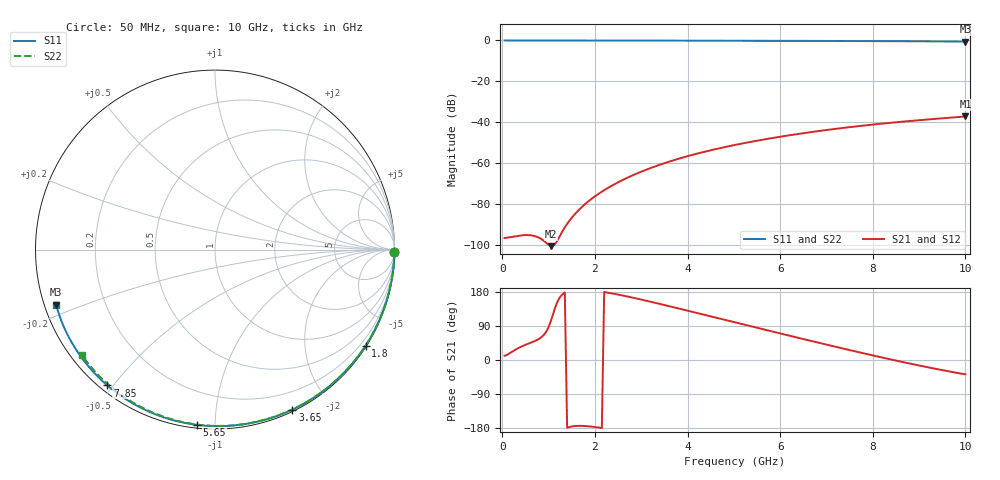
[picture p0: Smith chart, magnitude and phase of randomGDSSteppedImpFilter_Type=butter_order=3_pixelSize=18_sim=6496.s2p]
! freq	dB(S11)	phase(S11)	dB(S12)	phase(S12)
!  dB(S21)	phase(S21)	dB(S22)	phase(S22)
!S-par simulation data
#  GHz  S  DB  R 50
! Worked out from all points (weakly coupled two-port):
!   200 points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, 50 MHz to 10 GHz, reference 50 ohm
!   highest |S21| = -37.13 dB at 10 GHz (marker M1); lowest = -100.5 dB at 1.05 GHz (marker M2)
!   lowest |S11| = -0.6 dB at 10 GHz (marker M3), VSWR 30.82, Z = 1.67 - j8.42 ohm
!   |S11| at or under -10 dB: nowhere
!   |S22| runs from -0.5 to 0.0 dB; largest |S21 - S12| = 0
!   S11 on the Smith chart (normalised r, x): 50 MHz: open; 1.8 GHz: 0.03, -3.43; 3.65 GHz: 0.02, -1.60; 5.65 GHz: 0.02, -0.90; 7.85 GHz: 0.02, -0.48; 10 GHz: 0.03, -0.17
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0.05  -0.00 -0.9  -96.42 11.2  -96.42 11.2  -0.00 -0.8
0.55  -0.01 -10.1  -95.03 42.5  -95.03 42.5  -0.01 -9.0
1.05  -0.02 -19.1  -100.45 103.0  -100.45 103.0  -0.02 -17.1
1.75  -0.04 -31.6  -80.66 -174.0  -80.66 -174.0  -0.04 -28.2
1.8  -0.04 -32.5  -79.67 -174.3  -79.67 -174.3  -0.04 -29.0
1.95  -0.04 -35.2  -76.96 -176.1  -76.96 -176.1  -0.04 -31.4
2.1  -0.05 -37.8  -74.57 -178.6  -74.57 -178.6  -0.04 -33.8
2.3  -0.05 -41.3  -71.76 177.3  -71.76 177.3  -0.05 -36.9
2.5  -0.06 -44.7  -69.27 172.7  -69.27 172.7  -0.05 -40.0
2.9  -0.07 -51.6  -65.02 162.2  -65.02 162.2  -0.06 -46.1
3.4  -0.08 -60.0  -60.70 148.0  -60.70 148.0  -0.07 -53.7
3.65  -0.09 -64.1  -58.85 140.7  -58.85 140.7  -0.08 -57.4
4.3  -0.11 -74.7  -54.73 121.1  -54.73 121.1  -0.09 -66.9
5.05  -0.13 -86.6  -50.90 98.4  -50.90 98.4  -0.12 -77.6
5.65  -0.16 -95.8  -48.35 80.4  -48.35 80.4  -0.14 -85.9
6.15  -0.19 -103.3  -46.48 65.6  -46.48 65.6  -0.16 -92.6
6.7  -0.22 -111.5  -44.64 49.4  -44.64 49.4  -0.19 -99.9
7.25  -0.26 -119.6  -43.01 33.4  -43.01 33.4  -0.23 -107.0
7.85  -0.30 -128.4  -41.43 16.3  -41.43 16.3  -0.27 -114.7
8.35  -0.35 -135.7  -40.28 2.5  -40.28 2.5  -0.31 -121.0
9.2  -0.44 -148.4  -38.56 -19.5  -38.56 -19.5  -0.39 -131.6
10  -0.56 -160.9  -37.13 -37.9  -37.13 -37.9  -0.48 -141.6
